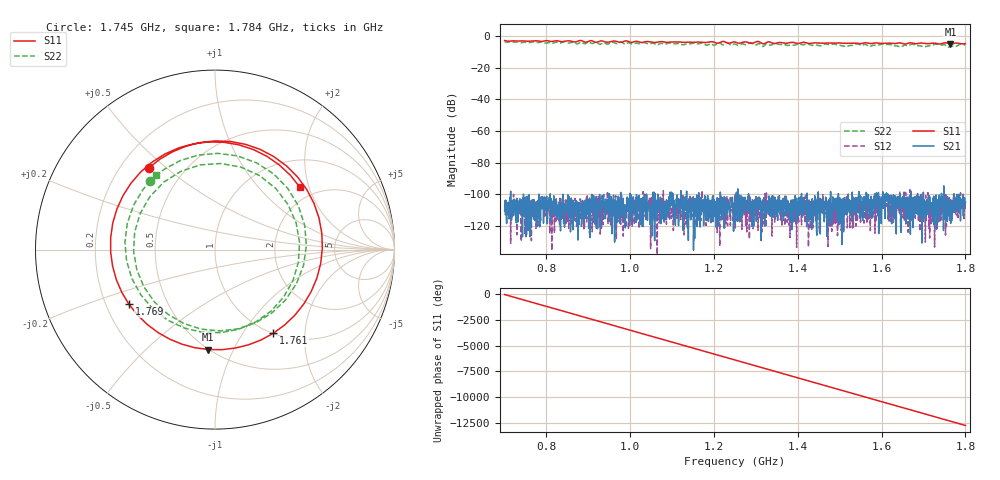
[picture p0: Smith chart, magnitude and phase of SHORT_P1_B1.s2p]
# Hz S RI R 50
! RAW DATA - UNCALIBRATED
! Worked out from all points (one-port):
!   1601 points, 700 MHz to 1.8 GHz, reference 50 ohm
!   lowest |S11| = -5.1 dB at 1.764 GHz (marker M1), VSWR 3.52, Z = 24.9 - j40.2 ohm
!   |S11| at or under -10 dB: nowhere
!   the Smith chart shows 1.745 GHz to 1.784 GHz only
!   S11 on the Smith chart (normalised r, x): 1.745 GHz: 0.32, +0.44; 1.761 GHz: 1.00, -1.38; 1.769 GHz: 0.30, -0.27; 1.784 GHz: 1.64, +1.74
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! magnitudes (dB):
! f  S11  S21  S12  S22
! 700 MHz  -2.9  -110.4  -108.3  -3.7
! 883.6 MHz  -2.9  -120.3  -104.8  -3.9
! 1.067 GHz  -3.7  -108.4  -108.6  -5.4
! 1.25 GHz  -3.8  -106.6  -99.7  -5.1
! 1.287 GHz  -4.6  -109.3  -115.4  -4.3
! 1.317 GHz  -4.9  -110.6  -105.0  -6.6
! 1.346 GHz  -4.7  -101.8  -106.3  -4.7
! 1.434 GHz  -4.5  -115.4  -104.5  -5.9
! 1.486 GHz  -4.5  -105.7  -105.4  -5.1
! 1.514 GHz  -4.6  -104.4  -110.4  -6.6
! 1.542 GHz  -4.6  -109.6  -116.8  -5.0
! 1.572 GHz  -4.7  -107.8  -105.9  -6.7
! 1.617 GHz  -4.5  -108.8  -108.7  -5.3
! 1.644 GHz  -4.3  -104.4  -101.4  -6.9
! 1.673 GHz  -4.4  -106.2  -106.4  -5.1
! 1.702 GHz  -4.7  -104.2  -112.9  -6.7
! 1.745 GHz  -4.6  -106.8  -107.1  -5.6
! 1.761 GHz  -4.9  -113.5  -102.9  -7.0
! 1.764 GHz  -5.1  -104.8  -103.4  -6.6
! 1.769 GHz  -4.9  -106.0  -103.9  -6.4
! 1.784 GHz  -4.6  -100.0  -104.6  -5.5
! 1.8 GHz  -4.8  -104.9  -104.2  -5.7
